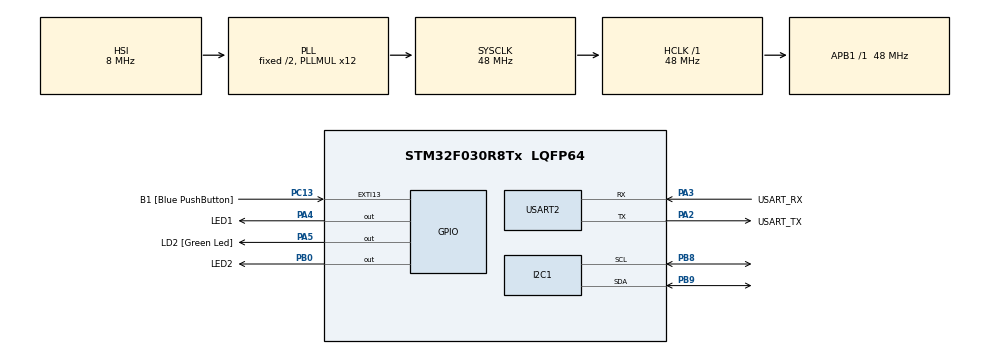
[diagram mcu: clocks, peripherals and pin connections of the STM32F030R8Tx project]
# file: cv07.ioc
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FREERTOS.Queues01=xVisualQueue,16,uint16_t,0,Dynamic,NULL,NULL
FREERTOS.Tasks01=defaultTask,0,128,StartDefaultTask,Default,NULL,Dynamic,NULL,NULL;VisualTask,0,128,StartVisualTask,Default,NULL,Dynamic,NULL,NULL;AcceleroTask,0,128,StartAcceleroTask,Default,NULL,Dynamic,NULL,NULL
I2C1.Timing=0x00201D2B
Mcu.Family=STM32F0
Mcu.Name=STM32F030R8Tx
Mcu.Package=LQFP64
NVIC.TIM14_IRQn=true\:3\:0\:false\:false\:true\:false\:false\:true\:true
NVIC.TimeBase=TIM14_IRQn
NVIC.TimeBaseIP=TIM14
PA13.GPIO_Label=TMS
PA13.Mode=Serial_Wire
PA13.Signal=SYS_SWDIO
PA14.GPIO_Label=TCK
PA14.Mode=Serial_Wire
PA14.Signal=SYS_SWCLK
PA2.GPIO_Label=USART_TX
PA2.GPIO_Mode=GPIO_MODE_AF_PP
PA2.GPIO_PuPd=GPIO_NOPULL
PA2.GPIO_Speed=GPIO_SPEED_FREQ_LOW
PA2.Mode=Asynchronous
PA2.Signal=USART2_TX
PA3.GPIO_Label=USART_RX
PA3.GPIO_Mode=GPIO_MODE_AF_PP
PA3.GPIO_PuPd=GPIO_NOPULL
PA3.GPIO_Speed=GPIO_SPEED_FREQ_LOW
PA3.Mode=Asynchronous
PA3.Signal=USART2_RX
PA4.GPIO_Label=LED1
PA4.Signal=GPIO_Output
PA5.GPIO_Label=LD2 [Green Led]
PA5.GPIO_Mode=GPIO_MODE_OUTPUT_PP
PA5.GPIO_PuPd=GPIO_NOPULL
PA5.GPIO_Speed=GPIO_SPEED_FREQ_LOW
PA5.Signal=GPIO_Output
PB0.GPIO_Label=LED2
PB0.Signal=GPIO_Output
PB8.Mode=I2C
PB8.Signal=I2C1_SCL
PB9.Mode=I2C
PB9.Signal=I2C1_SDA
PC13.GPIO_Label=B1 [Blue PushButton]
PC13.GPIO_ModeDefaultEXTI=GPIO_MODE_IT_FALLING
PC13.Signal=GPXTI13
PC14-OSC32_IN.Mode=LSE-External-Oscillator
PC14-OSC32_IN.Signal=RCC_OSC32_IN
PC15-OSC32_OUT.Mode=LSE-External-Oscillator
PC15-OSC32_OUT.Signal=RCC_OSC32_OUT
PF0-OSC_IN.Mode=HSE-External-Clock-Source
PF0-OSC_IN.Signal=RCC_OSC_IN
PF1-OSC_OUT.Signal=RCC_OSC_OUT
ProjectManager.HeapSize=0x200
ProjectManager.StackSize=0x400
ProjectManager.TargetToolchain=STM32CubeIDE
RCC.AHBFreq_Value=48000000
RCC.APB1Freq_Value=48000000
RCC.APB1TimFreq_Value=48000000
RCC.HCLKFreq_Value=48000000
RCC.PLLMUL=RCC_PLL_MUL12
RCC.SYSCLKFreq_VALUE=48000000
RCC.SYSCLKSource=RCC_SYSCLKSOURCE_PLLCLK
USART2.VirtualMode-Asynchronous=VM_ASYNC
VP_FREERTOS_VS_CMSIS_V1.Mode=CMSIS_V1
VP_SYS_VS_tim14.Mode=TIM14
board=NUCLEO-F030R8

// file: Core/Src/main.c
/* USER CODE BEGIN Header */
/**
  ******************************************************************************
  * @file           : main.c
  * @brief          : Main program body
  ******************************************************************************
  * @attention
  *
  * Copyright (c) 2024 STMicroelectronics.
  * All rights reserved.
  *
  * This software is licensed under terms that can be found in the LICENSE file
  * in the root directory of this software component.
  * If no LICENSE file comes with this software, it is provided AS-IS.
  *
  ******************************************************************************
  */
/* USER CODE END Header */
#include "main.h"
#include "cmsis_os.h"

/* USER CODE BEGIN Includes */

#include "lis2dw12_reg.h"
#include "stdio.h"

/* USER CODE END Includes */

I2C_HandleTypeDef hi2c1;

UART_HandleTypeDef huart2;

osThreadId defaultTaskHandle;
osThreadId VisualTaskHandle;
osThreadId AcceleroTaskHandle;
osMessageQId xVisualQueueHandle;

void SystemClock_Config(void);
static void MX_GPIO_Init(void);
static void MX_USART2_UART_Init(void);
static void MX_I2C1_Init(void);
void StartDefaultTask(void const * argument);
void StartVisualTask(void const * argument);
void StartAcceleroTask(void const * argument);

/* USER CODE BEGIN PFP */

int _write(int file, char const *buf, int n)
{
/* stdout redirection to UART2 */
HAL_UART_Transmit(&huart2, (uint8_t*)(buf), n, HAL_MAX_DELAY);
return n;
}

/* USER CODE END PFP */

/* USER CODE BEGIN 0 */

static int32_t platform_write(void *handle, uint8_t reg, uint8_t *bufp, uint16_t len);
static int32_t platform_read(void *handle, uint8_t reg, uint8_t *bufp, uint16_t len);
static stmdev_ctx_t lis2dw12 = {
		.write_reg = platform_write,
		.read_reg = platform_read,
		.handle = &hi2c1,
};

/*
 * Replace the functions "platform_write" and "platform_read" with your
 * platform specific read and write function.
 */
static int32_t platform_write(void *handle, uint8_t reg, uint8_t *bufp, uint16_t len)
{
	HAL_I2C_Mem_Write(handle, LIS2DW12_I2C_ADD_H, reg, I2C_MEMADD_SIZE_8BIT, bufp, len, 1000);
	return 0;
}
static int32_t platform_read(void *handle, uint8_t reg, uint8_t *bufp, uint16_t len)
{
	HAL_I2C_Mem_Read(handle, LIS2DW12_I2C_ADD_H, reg, I2C_MEMADD_SIZE_8BIT, bufp, len, 1000);
	return 0;
}

/* USER CODE END 0 */

int main(void)
{

  /* MCU Configuration--------------------------------------------------------*/

  /* Reset of all peripherals, Initializes the Flash interface and the Systick. */
  HAL_Init();

  /* Configure the system clock */
  SystemClock_Config();

  /* Initialize all configured peripherals */
  MX_GPIO_Init();
  MX_USART2_UART_Init();
  MX_I2C1_Init();

  /* Create the queue(s) */
  /* definition and creation of xVisualQueue */
  osMessageQDef(xVisualQueue, 16, uint16_t);
  xVisualQueueHandle = osMessageCreate(osMessageQ(xVisualQueue), NULL);

  /* Create the thread(s) */
  /* definition and creation of defaultTask */
  osThreadDef(defaultTask, StartDefaultTask, osPriorityNormal, 0, 128);
  defaultTaskHandle = osThreadCreate(osThread(defaultTask), NULL);

  /* definition and creation of VisualTask */
  osThreadDef(VisualTask, StartVisualTask, osPriorityNormal, 0, 128);
  VisualTaskHandle = osThreadCreate(osThread(VisualTask), NULL);

  /* definition and creation of AcceleroTask */
  osThreadDef(AcceleroTask, StartAcceleroTask, osPriorityNormal, 0, 128);
  AcceleroTaskHandle = osThreadCreate(osThread(AcceleroTask), NULL);

  /* Start scheduler */
  osKernelStart();

  /* We should never get here as control is now taken by the scheduler */

  /* Infinite loop */
  while (1)
  {

  }
}

void SystemClock_Config(void)
{
  RCC_OscInitTypeDef RCC_OscInitStruct = {0};
  RCC_ClkInitTypeDef RCC_ClkInitStruct = {0};
  RCC_PeriphCLKInitTypeDef PeriphClkInit = {0};

  /** Initializes the RCC Oscillators according to the specified parameters
  * in the RCC_OscInitTypeDef structure.
  */
  RCC_OscInitStruct.OscillatorType = RCC_OSCILLATORTYPE_HSI;
  RCC_OscInitStruct.HSIState = RCC_HSI_ON;
  RCC_OscInitStruct.HSICalibrationValue = RCC_HSICALIBRATION_DEFAULT;
  RCC_OscInitStruct.PLL.PLLState = RCC_PLL_ON;
  RCC_OscInitStruct.PLL.PLLSource = RCC_PLLSOURCE_HSI;
  RCC_OscInitStruct.PLL.PLLMUL = RCC_PLL_MUL12;
  RCC_OscInitStruct.PLL.PREDIV = RCC_PREDIV_DIV1;
  if (HAL_RCC_OscConfig(&RCC_OscInitStruct) != HAL_OK)
  {
    Error_Handler();
  }

  /** Initializes the CPU, AHB and APB buses clocks
  */
  RCC_ClkInitStruct.ClockType = RCC_CLOCKTYPE_HCLK|RCC_CLOCKTYPE_SYSCLK
                              |RCC_CLOCKTYPE_PCLK1;
  RCC_ClkInitStruct.SYSCLKSource = RCC_SYSCLKSOURCE_PLLCLK;
  RCC_ClkInitStruct.AHBCLKDivider = RCC_SYSCLK_DIV1;
  RCC_ClkInitStruct.APB1CLKDivider = RCC_HCLK_DIV1;

  if (HAL_RCC_ClockConfig(&RCC_ClkInitStruct, FLASH_LATENCY_1) != HAL_OK)
  {
    Error_Handler();
  }
  PeriphClkInit.PeriphClockSelection = RCC_PERIPHCLK_I2C1;
  PeriphClkInit.I2c1ClockSelection = RCC_I2C1CLKSOURCE_HSI;
  if (HAL_RCCEx_PeriphCLKConfig(&PeriphClkInit) != HAL_OK)
  {
    Error_Handler();
  }
}

static void MX_I2C1_Init(void)
{

  hi2c1.Instance = I2C1;
  hi2c1.Init.Timing = 0x00201D2B;
  hi2c1.Init.OwnAddress1 = 0;
  hi2c1.Init.AddressingMode = I2C_ADDRESSINGMODE_7BIT;
  hi2c1.Init.DualAddressMode = I2C_DUALADDRESS_DISABLE;
  hi2c1.Init.OwnAddress2 = 0;
  hi2c1.Init.OwnAddress2Masks = I2C_OA2_NOMASK;
  hi2c1.Init.GeneralCallMode = I2C_GENERALCALL_DISABLE;
  hi2c1.Init.NoStretchMode = I2C_NOSTRETCH_DISABLE;
  if (HAL_I2C_Init(&hi2c1) != HAL_OK)
  {
    Error_Handler();
  }

  /** Configure Analogue filter
  */
  if (HAL_I2CEx_ConfigAnalogFilter(&hi2c1, I2C_ANALOGFILTER_ENABLE) != HAL_OK)
  {
    Error_Handler();
  }

  /** Configure Digital filter
  */
  if (HAL_I2CEx_ConfigDigitalFilter(&hi2c1, 0) != HAL_OK)
  {
    Error_Handler();
  }

}

static void MX_USART2_UART_Init(void)
{

  huart2.Instance = USART2;
  huart2.Init.BaudRate = 38400;
  huart2.Init.WordLength = UART_WORDLENGTH_8B;
  huart2.Init.StopBits = UART_STOPBITS_1;
  huart2.Init.Parity = UART_PARITY_NONE;
  huart2.Init.Mode = UART_MODE_TX_RX;
  huart2.Init.HwFlowCtl = UART_HWCONTROL_NONE;
  huart2.Init.OverSampling = UART_OVERSAMPLING_16;
  huart2.Init.OneBitSampling = UART_ONE_BIT_SAMPLE_DISABLE;
  huart2.AdvancedInit.AdvFeatureInit = UART_ADVFEATURE_NO_INIT;
  if (HAL_UART_Init(&huart2) != HAL_OK)
  {
    Error_Handler();
  }

}

static void MX_GPIO_Init(void)
{
  GPIO_InitTypeDef GPIO_InitStruct = {0};

  /* GPIO Ports Clock Enable */
  __HAL_RCC_GPIOC_CLK_ENABLE();
  __HAL_RCC_GPIOF_CLK_ENABLE();
  __HAL_RCC_GPIOA_CLK_ENABLE();
  __HAL_RCC_GPIOB_CLK_ENABLE();

  /*Configure GPIO pin Output Level */
  HAL_GPIO_WritePin(GPIOA, LED1_Pin|LD2_Pin, GPIO_PIN_RESET);

  /*Configure GPIO pin Output Level */
  HAL_GPIO_WritePin(LED2_GPIO_Port, LED2_Pin, GPIO_PIN_RESET);

  /*Configure GPIO pin : B1_Pin */
  GPIO_InitStruct.Pin = B1_Pin;
  GPIO_InitStruct.Mode = GPIO_MODE_IT_FALLING;
  GPIO_InitStruct.Pull = GPIO_NOPULL;
  HAL_GPIO_Init(B1_GPIO_Port, &GPIO_InitStruct);

  /*Configure GPIO pins : LED1_Pin LD2_Pin */
  GPIO_InitStruct.Pin = LED1_Pin|LD2_Pin;
  GPIO_InitStruct.Mode = GPIO_MODE_OUTPUT_PP;
  GPIO_InitStruct.Pull = GPIO_NOPULL;
  GPIO_InitStruct.Speed = GPIO_SPEED_FREQ_LOW;
  HAL_GPIO_Init(GPIOA, &GPIO_InitStruct);

  /*Configure GPIO pin : LED2_Pin */
  GPIO_InitStruct.Pin = LED2_Pin;
  GPIO_InitStruct.Mode = GPIO_MODE_OUTPUT_PP;
  GPIO_InitStruct.Pull = GPIO_NOPULL;
  GPIO_InitStruct.Speed = GPIO_SPEED_FREQ_LOW;
  HAL_GPIO_Init(LED2_GPIO_Port, &GPIO_InitStruct);

}

void StartDefaultTask(void const * argument)
{
  for(;;)
  {
    osDelay(1);
  }
}

void StartVisualTask(void const * argument)
{
  /* USER CODE BEGIN StartVisualTask */
  /* Infinite loop */
	for (;;) {
		int16_t msg;
		if (xQueueReceive(xVisualQueueHandle, &msg, portMAX_DELAY)) {
			HAL_GPIO_WritePin(LED1_GPIO_Port, LED1_Pin, RESET);
			HAL_GPIO_WritePin(LED2_GPIO_Port, LED2_Pin, RESET);
			if (msg < -1000) {
				HAL_GPIO_WritePin(LED1_GPIO_Port, LED1_Pin, SET);
			} else if (msg > 1000) {
				HAL_GPIO_WritePin(LED2_GPIO_Port, LED2_Pin, SET);
			}
			// else RESET both
		}
	}
  /* USER CODE END StartVisualTask */
}

void StartAcceleroTask(void const * argument)
{
  /* USER CODE BEGIN StartAcceleroTask */
  /* Infinite loop */

	//Check device ID
	uint8_t whoamI = 0;
	lis2dw12_device_id_get(&lis2dw12, &whoamI);
	printf("LIS2DW12_ID %s\n", (whoamI == LIS2DW12_ID) ? "OK" : "FAIL");

	lis2dw12_full_scale_set(&lis2dw12, LIS2DW12_2g);
	lis2dw12_power_mode_set(&lis2dw12, LIS2DW12_CONT_LOW_PWR_LOW_NOISE_2);
	lis2dw12_block_data_update_set(&lis2dw12, PROPERTY_ENABLE);
	// enable continuous FIFO
	lis2dw12_fifo_mode_set(&lis2dw12, LIS2DW12_STREAM_MODE);
	// enable part from power-down
	lis2dw12_data_rate_set(&lis2dw12, LIS2DW12_XL_ODR_25Hz);

	for (;;) {
		static uint16_t terminal_delay = 0;
		uint8_t samples;
		int16_t raw_acceleration[3];
		lis2dw12_fifo_data_level_get(&lis2dw12, &samples);
		for (uint8_t i = 0; i < samples; i++) {
			// Read acceleration data
			lis2dw12_acceleration_raw_get(&lis2dw12, raw_acceleration);
		}

		xQueueSend(xVisualQueueHandle, &(raw_acceleration[0]), 0);
		if (terminal_delay >= 500) {
			printf("X=%d Y=%d Z=%d\n", raw_acceleration[0], raw_acceleration[1], raw_acceleration[2]);
			terminal_delay = 0;
		}
		vTaskDelay(50);
		terminal_delay += 50;
	}
  /* USER CODE END StartAcceleroTask */
}

void HAL_TIM_PeriodElapsedCallback(TIM_HandleTypeDef *htim)
{
  if (htim->Instance == TIM14) {
    HAL_IncTick();
  }
}

void Error_Handler(void)
{
  __disable_irq();
  while (1)
  {
  }
}
